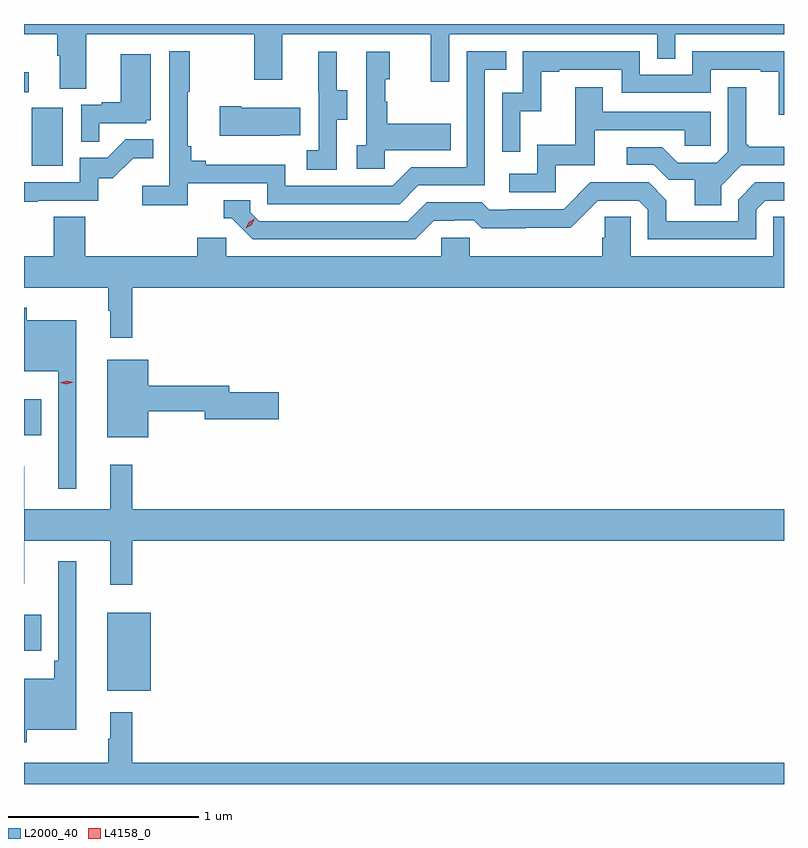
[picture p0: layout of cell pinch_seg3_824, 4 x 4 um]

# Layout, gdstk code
import gdstk
lib = gdstk.Library(unit=1e-6, precision=1e-09)
def R(c, l, rs):  # rectangles x0, y0, x1, y1
    for r in rs: c.add(gdstk.rectangle(r[:2], r[2:], *l))
def P(c, l, *ps):  # polygons
    for p in ps: c.add(gdstk.Polygon(p, *l))
L2000_40 = (2000, 40)
L4158_0 = (4158, 0)

pinch_seg3_824 = lib.new_cell('pinch_seg3_824')
R(pinch_seg3_824, L2000_40, [(875.897,720.107,876.124,720.517), (875.458,720.317,875.548,720.505), (875.458,721.451,875.548,721.639), (875.498,722.868,875.662,723.175), (875.458,723.255,875.482,723.361)])
P(pinch_seg3_824, L2000_40, [(875.785,723.56),(876.67,723.56),(876.67,723.321),(876.817,723.321),(876.817,723.56),(877.598,723.56),(877.598,723.312),(877.695,723.312),(877.695,723.56),(878.79,723.56),(878.79,723.433),(878.886,723.433),(878.886,723.56),(879.458,723.56),(879.458,723.615),(875.458,723.615),(875.458,723.56),(875.633,723.56),(875.633,723.448),(875.645,723.448),(875.645,723.274),(875.785,723.274)],
  [(876.32,722.778),(876.738,722.778),(876.738,722.667),(877.435,722.667),(877.534,722.766),(877.884,722.766),(877.884,723.375),(877.997,723.375),(877.997,723.471),(877.788,723.471),(877.788,722.862),(877.497,722.862),(877.398,722.763),(876.834,722.763),(876.834,722.875),(876.415,722.875),(876.415,722.894),(876.338,722.894),(876.338,722.971),(876.319,722.971),(876.319,723.259),(876.331,723.259),(876.331,723.472),(876.222,723.472),(876.222,722.764),(876.081,722.764),(876.081,722.662),(876.32,722.662)],
  [(878.07,723.155),(878.18,723.155),(878.18,723.363),(878.275,723.363),(878.275,723.375),(878.604,723.375),(878.604,723.252),(879.072,723.252),(879.072,723.375),(879.335,723.375),(879.335,723.363),(879.431,723.363),(879.431,723.137),(879.458,723.137),(879.458,723.471),(878.976,723.471),(878.976,723.348),(878.7,723.348),(878.7,723.471),(878.082,723.471),(878.082,723.252),(877.974,723.252),(877.974,722.943),(878.07,722.943)],
  [(877.356,722.951),(877.703,722.951),(877.703,723.091),(877.369,723.091),(877.369,723.206),(877.359,723.206),(877.359,723.324),(877.384,723.324),(877.384,723.469),(877.26,723.469),(877.26,722.978),(877.209,722.978),(877.209,722.853),(877.356,722.853)],
  [(877.104,723.112),(877.159,723.112),(877.159,723.267),(877.105,723.267),(877.105,723.469),(877.007,723.469),(877.007,723.255),(877.008,723.255),(877.008,722.951),(876.945,722.951),(876.945,722.848),(877.104,722.848)],
  [(875.855,723.093),(876.102,723.093),(876.102,723.108),(876.124,723.108),(876.124,723.457),(875.966,723.457),(875.966,723.202),(875.867,723.202),(875.867,723.189),(875.76,723.189),(875.76,722.995),(875.855,722.995)],
  [(878.256,722.871),(878.461,722.871),(878.461,723.057),(878.935,723.057),(878.935,722.973),(879.072,722.973),(879.072,723.153),(878.503,723.153),(878.503,723.283),(878.359,723.283),(878.359,722.98),(878.16,722.98),(878.16,722.826),(878.013,722.826),(878.013,722.73),(878.256,722.73)],
  [(879.127,722.764),(879.234,722.871),(879.458,722.871),(879.458,722.968),(879.271,722.968),(879.271,722.98),(879.259,722.98),(879.259,723.283),(879.162,723.283),(879.162,722.943),(879.105,722.886),(878.899,722.886),(878.818,722.967),(878.631,722.967),(878.631,722.874),(878.772,722.874),(878.852,722.794),(878.987,722.794),(878.987,722.662),(879.127,722.662)],
  [(876.803,723.029),(876.911,723.029),(876.911,723.175),(876.601,723.175),(876.601,723.183),(876.489,723.183),(876.489,723.026),(876.803,723.026)],
  [(875.531,722.685),(875.85,722.685),(875.85,722.802),(875.926,722.802),(876.033,722.909),(876.137,722.909),(876.137,723.008),(875.993,723.008),(875.895,722.91),(875.751,722.91),(875.751,722.781),(875.458,722.781),(875.458,722.68),(875.531,722.68)],
  [(877.615,722.58),(877.722,722.58),(877.722,722.583),(877.825,722.583),(877.867,722.541),(878.1,722.541),(878.1,722.543),(878.336,722.543),(878.478,722.685),(878.694,722.685),(878.742,722.637),(878.742,722.481),(879.312,722.481),(879.312,722.637),(879.36,722.685),(879.458,722.685),(879.458,722.781),(879.306,722.781),(879.216,722.691),(879.216,722.577),(878.839,722.577),(878.839,722.687),(878.745,722.781),(878.439,722.781),(878.298,722.64),(878.005,722.64),(878.005,722.637),(877.906,722.637),(877.867,722.676),(877.578,722.676),(877.479,722.577),(876.696,722.577),(876.648,722.625),(876.648,722.688),(876.509,722.688),(876.509,722.592),(876.552,722.592),(876.663,722.481),(877.516,722.481)],
  [(879.458,722.6),(879.402,722.6),(879.402,722.392),(878.652,722.392),(878.652,722.6),(878.515,722.6),(878.515,722.49),(878.501,722.49),(878.501,722.392),(877.803,722.392),(877.803,722.49),(877.653,722.49),(877.653,722.392),(876.522,722.392),(876.522,722.49),(876.371,722.49),(876.371,722.392),(875.78,722.392),(875.78,722.6),(875.615,722.6),(875.615,722.392),(875.458,722.392),(875.458,722.228),(875.901,722.228),(875.901,722.105),(875.912,722.105),(875.912,721.965),(876.029,721.965),(876.029,722.228),(879.458,722.228)],
  [(875.734,722.056),(875.473,722.056),(875.473,722.122),(875.458,722.122),(875.458,721.787),(875.637,721.787),(875.637,721.17),(875.734,721.17)],
  [(876.112,721.576),(876.41,721.576),(876.41,721.534),(876.799,721.534),(876.799,721.676),(876.538,721.676),(876.538,721.712),(876.112,721.712),(876.112,721.849),(875.897,721.849),(875.897,721.439),(876.112,721.439)],
  [(876.029,720.896),(879.458,720.896),(879.458,721.06),(876.029,721.06),(876.029,721.294),(875.912,721.294),(875.912,721.06),(875.459,721.06),(875.459,721.288),(875.458,721.288),(875.458,720.668),(875.459,720.668),(875.459,720.896),(875.912,720.896),(875.912,720.663),(876.029,720.663)],
  [(875.473,719.9),(875.734,719.9),(875.734,720.787),(875.637,720.787),(875.637,720.265),(875.617,720.265),(875.617,720.169),(875.458,720.169),(875.458,719.835),(875.473,719.835)],
  [(879.458,719.728),(876.029,719.728),(876.029,719.992),(875.912,719.992),(875.912,719.852),(875.901,719.852),(875.901,719.728),(875.458,719.728),(875.458,719.615),(879.458,719.615)])
P(pinch_seg3_824, L4158_0, [(875.683,721.718),(875.647,721.726),(875.647,721.726),(875.647,721.727),(875.682,721.738),(875.718,721.729),(875.718,721.729),(875.718,721.729)],
  [(876.624,722.539),(876.624,722.54),(876.642,722.572),(876.673,722.59),(876.673,722.59),(876.673,722.59),(876.656,722.558),(876.625,722.539)])

lib.write_gds('pinch_seg3_824.gds')
